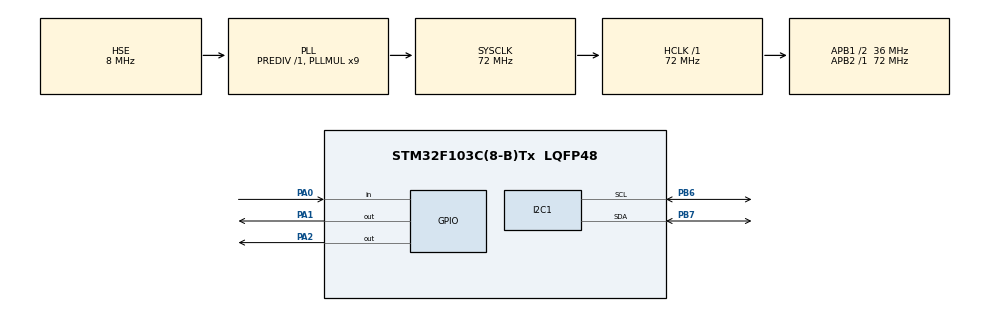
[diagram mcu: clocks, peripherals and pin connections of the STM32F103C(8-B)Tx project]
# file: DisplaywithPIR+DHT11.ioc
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I2C1.I2C_Mode=I2C_Fast
Mcu.Family=STM32F1
Mcu.Name=STM32F103C(8-B)Tx
Mcu.Package=LQFP48
NVIC.PriorityGroup=NVIC_PRIORITYGROUP_4
PA0-WKUP.Signal=GPIO_Input
PA1.Signal=GPIO_Output
PA13.Mode=Serial_Wire
PA13.Signal=SYS_JTMS-SWDIO
PA14.Mode=Serial_Wire
PA14.Signal=SYS_JTCK-SWCLK
PA2.Signal=GPIO_Output
PB6.Mode=I2C
PB6.Signal=I2C1_SCL
PB7.Mode=I2C
PB7.Signal=I2C1_SDA
PD0-OSC_IN.Mode=HSE-External-Oscillator
PD0-OSC_IN.Signal=RCC_OSC_IN
PD1-OSC_OUT.Mode=HSE-External-Oscillator
PD1-OSC_OUT.Signal=RCC_OSC_OUT
ProjectManager.HeapSize=0x200
ProjectManager.StackSize=0x400
ProjectManager.TargetToolchain=STM32CubeIDE
RCC.AHBFreq_Value=72000000
RCC.APB1CLKDivider=RCC_HCLK_DIV2
RCC.APB1Freq_Value=36000000
RCC.APB1TimFreq_Value=72000000
RCC.APB2Freq_Value=72000000
RCC.APB2TimFreq_Value=72000000
RCC.HCLKFreq_Value=72000000
RCC.PLLMUL=RCC_PLL_MUL9
RCC.PLLSourceVirtual=RCC_PLLSOURCE_HSE
RCC.SYSCLKFreq_VALUE=72000000
RCC.SYSCLKSource=RCC_SYSCLKSOURCE_PLLCLK
RCC.USBFreq_Value=72000000
board=custom

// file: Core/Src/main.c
/* USER CODE BEGIN Header */
/**
  ******************************************************************************
  * @file           : main.c
  * @brief          : Main program body
  ******************************************************************************
  * @attention
  *
  * Copyright (c) 2026 STMicroelectronics.
  * All rights reserved.
  *
  * This software is licensed under terms that can be found in the LICENSE file
  * in the root directory of this software component.
  * If no LICENSE file comes with this software, it is provided AS-IS.
  *
  ******************************************************************************
  */
/* USER CODE END Header */
#include "main.h"

/* USER CODE BEGIN Includes */

#include "fonts.h"
#include "ssd1306.h"
#include <stdio.h>
/* USER CODE END Includes */

I2C_HandleTypeDef hi2c1;

void SystemClock_Config(void);
static void MX_GPIO_Init(void);
static void MX_I2C1_Init(void);

/* USER CODE BEGIN 0 */
#define DHT11_PORT GPIOA
#define DHT11_PIN  GPIO_PIN_2

static void DHT11_Pin_Output(void)
{
    GPIO_InitTypeDef GPIO_InitStruct = {0};

    GPIO_InitStruct.Pin = DHT11_PIN;
    GPIO_InitStruct.Mode = GPIO_MODE_OUTPUT_PP;
    GPIO_InitStruct.Pull = GPIO_NOPULL;
    GPIO_InitStruct.Speed = GPIO_SPEED_FREQ_HIGH;

    HAL_GPIO_Init(DHT11_PORT, &GPIO_InitStruct);
}

static void DHT11_Pin_Input(void)
{
    GPIO_InitTypeDef GPIO_InitStruct = {0};

    GPIO_InitStruct.Pin = DHT11_PIN;
    GPIO_InitStruct.Mode = GPIO_MODE_INPUT;
    GPIO_InitStruct.Pull = GPIO_PULLUP;

    HAL_GPIO_Init(DHT11_PORT, &GPIO_InitStruct);
}

/* Microsecond delay using Cortex-M3 DWT */
static void DHT11_Delay_us(uint32_t us)
{
    uint32_t start = DWT->CYCCNT;
    uint32_t ticks = us * (HAL_RCC_GetHCLKFreq() / 1000000U);

    while ((DWT->CYCCNT - start) < ticks)
    {
    }
}

static void DHT11_DWT_Init(void)
{
    CoreDebug->DEMCR |= CoreDebug_DEMCR_TRCENA_Msk;
    DWT->CTRL |= DWT_CTRL_CYCCNTENA_Msk;
    DWT->CYCCNT = 0;
}

static uint8_t DHT11_WaitForState(GPIO_PinState state,
                                  uint32_t timeout_us)
{
    uint32_t start = DWT->CYCCNT;
    uint32_t ticks =
        timeout_us * (HAL_RCC_GetHCLKFreq() / 1000000U);

    while (HAL_GPIO_ReadPin(DHT11_PORT, DHT11_PIN) != state)
    {
        if ((DWT->CYCCNT - start) > ticks)
        {
            return 0;
        }
    }

    return 1;
}

static uint8_t DHT11_Read(uint8_t *temperature,
                          uint8_t *humidity)
{
    uint8_t data[5] = {0};

    /* Send start signal */
    DHT11_Pin_Output();

    HAL_GPIO_WritePin(DHT11_PORT,
                      DHT11_PIN,
                      GPIO_PIN_RESET);

    HAL_Delay(20);

    HAL_GPIO_WritePin(DHT11_PORT,
                      DHT11_PIN,
                      GPIO_PIN_SET);

    DHT11_Delay_us(30);

    /* Release data line */
    DHT11_Pin_Input();

    /* DHT11 response */
    if (!DHT11_WaitForState(GPIO_PIN_RESET, 100))
        return 0;

    if (!DHT11_WaitForState(GPIO_PIN_SET, 100))
        return 0;

    if (!DHT11_WaitForState(GPIO_PIN_RESET, 100))
        return 0;

    /* Read 40 bits */
    for (uint8_t i = 0; i < 40; i++)
    {
        /* Wait for HIGH pulse */
        if (!DHT11_WaitForState(GPIO_PIN_SET, 100))
            return 0;

        uint32_t start = DWT->CYCCNT;

        uint32_t timeout_ticks =
            120U * (HAL_RCC_GetHCLKFreq() / 1000000U);

        while (HAL_GPIO_ReadPin(DHT11_PORT,
                                DHT11_PIN) == GPIO_PIN_SET)
        {
            if ((DWT->CYCCNT - start) > timeout_ticks)
            {
                return 0;
            }
        }

        uint32_t high_ticks = DWT->CYCCNT - start;

        uint32_t high_us =
            high_ticks /
            (HAL_RCC_GetHCLKFreq() / 1000000U);

        data[i / 8] <<= 1;

        /*
         * DHT11:
         * ~26-28 us HIGH = 0
         * ~70 us HIGH    = 1
         */
        if (high_us > 40)
        {
            data[i / 8] |= 1;
        }
    }

    /* Verify checksum */
    if ((uint8_t)(data[0] +
                  data[1] +
                  data[2] +
                  data[3]) != data[4])
    {
        return 0;
    }

    *humidity = data[0];
    *temperature = data[2];

    return 1;
}
/* USER CODE END 0 */

int main(void)
{

  /* MCU Configuration--------------------------------------------------------*/

  /* Reset of all peripherals, Initializes the Flash interface and the Systick. */
  HAL_Init();

  /* Configure the system clock */
  SystemClock_Config();

  /* Initialize all configured peripherals */
  MX_GPIO_Init();
  MX_I2C1_Init();
  /* USER CODE BEGIN 2 */
  DHT11_DWT_Init();

  SSD1306_Init();

  SSD1306_Clear();

  SSD1306_GotoXY(0, 0);
  SSD1306_Puts("MOTION", &Font_11x18, 1);

  SSD1306_GotoXY(0, 30);
  SSD1306_Puts("DHT11", &Font_11x18, 1);

  SSD1306_UpdateScreen();

  HAL_Delay(1000);
  /* USER CODE END 2 */

  /* Infinite loop */
  while (1)
  {
	  static uint8_t temperature = 0;
	    static uint8_t humidity = 0;
	    static uint8_t dht11_ok = 0;
	    static uint32_t last_dht_read = 0;

	    /* Read DHT11 every 2 seconds */
	    if ((HAL_GetTick() - last_dht_read) >= 2000)
	    {
	        last_dht_read = HAL_GetTick();

	        dht11_ok = DHT11_Read(&temperature, &humidity);
	    }

	    /* Read PIR */
	    uint8_t motion =
	        (HAL_GPIO_ReadPin(GPIOA, GPIO_PIN_0) == GPIO_PIN_SET);

	    /* Control external LED */
	    if (motion)
	    {
	        HAL_GPIO_WritePin(GPIOA,
	                          GPIO_PIN_1,
	                          GPIO_PIN_SET);
	    }
	    else
	    {
	        HAL_GPIO_WritePin(GPIOA,
	                          GPIO_PIN_1,
	                          GPIO_PIN_RESET);
	    }

	    /* OLED */
	    char line[22];

	    SSD1306_Clear();

	    /* Temperature and humidity */
	    if (dht11_ok)
	    {
	        sprintf(line, "TEMP: %d C", temperature);

	        SSD1306_GotoXY(0, 0);
	        SSD1306_Puts(line, &Font_7x10, 1);

	        sprintf(line, "HUM : %d %%", humidity);

	        SSD1306_GotoXY(0, 14);
	        SSD1306_Puts(line, &Font_7x10, 1);
	    }
	    else
	    {
	        SSD1306_GotoXY(0, 0);
	        SSD1306_Puts("DHT11 ERROR", &Font_7x10, 1);
	    }

	    /* Motion status */
	    SSD1306_GotoXY(0, 30);

	    if (motion)
	    {
	        SSD1306_Puts("MOTION: YES", &Font_7x10, 1);
	    }
	    else
	    {
	        SSD1306_Puts("MOTION: NO", &Font_7x10, 1);
	    }

	    /* LED status */
	    SSD1306_GotoXY(0, 45);

	    if (motion)
	    {
	        SSD1306_Puts("LED: ON", &Font_7x10, 1);
	    }
	    else
	    {
	        SSD1306_Puts("LED: OFF", &Font_7x10, 1);
	    }

	    SSD1306_UpdateScreen();

	    HAL_Delay(200);
  }
}

void SystemClock_Config(void)
{
  RCC_OscInitTypeDef RCC_OscInitStruct = {0};
  RCC_ClkInitTypeDef RCC_ClkInitStruct = {0};

  /** Initializes the RCC Oscillators according to the specified parameters
  * in the RCC_OscInitTypeDef structure.
  */
  RCC_OscInitStruct.OscillatorType = RCC_OSCILLATORTYPE_HSE;
  RCC_OscInitStruct.HSEState = RCC_HSE_ON;
  RCC_OscInitStruct.HSEPredivValue = RCC_HSE_PREDIV_DIV1;
  RCC_OscInitStruct.HSIState = RCC_HSI_ON;
  RCC_OscInitStruct.PLL.PLLState = RCC_PLL_ON;
  RCC_OscInitStruct.PLL.PLLSource = RCC_PLLSOURCE_HSE;
  RCC_OscInitStruct.PLL.PLLMUL = RCC_PLL_MUL9;
  if (HAL_RCC_OscConfig(&RCC_OscInitStruct) != HAL_OK)
  {
    Error_Handler();
  }

  /** Initializes the CPU, AHB and APB buses clocks
  */
  RCC_ClkInitStruct.ClockType = RCC_CLOCKTYPE_HCLK|RCC_CLOCKTYPE_SYSCLK
                              |RCC_CLOCKTYPE_PCLK1|RCC_CLOCKTYPE_PCLK2;
  RCC_ClkInitStruct.SYSCLKSource = RCC_SYSCLKSOURCE_PLLCLK;
  RCC_ClkInitStruct.AHBCLKDivider = RCC_SYSCLK_DIV1;
  RCC_ClkInitStruct.APB1CLKDivider = RCC_HCLK_DIV2;
  RCC_ClkInitStruct.APB2CLKDivider = RCC_HCLK_DIV1;

  if (HAL_RCC_ClockConfig(&RCC_ClkInitStruct, FLASH_LATENCY_2) != HAL_OK)
  {
    Error_Handler();
  }
}

static void MX_I2C1_Init(void)
{

  hi2c1.Instance = I2C1;
  hi2c1.Init.ClockSpeed = 400000;
  hi2c1.Init.DutyCycle = I2C_DUTYCYCLE_2;
  hi2c1.Init.OwnAddress1 = 0;
  hi2c1.Init.AddressingMode = I2C_ADDRESSINGMODE_7BIT;
  hi2c1.Init.DualAddressMode = I2C_DUALADDRESS_DISABLE;
  hi2c1.Init.OwnAddress2 = 0;
  hi2c1.Init.GeneralCallMode = I2C_GENERALCALL_DISABLE;
  hi2c1.Init.NoStretchMode = I2C_NOSTRETCH_DISABLE;
  if (HAL_I2C_Init(&hi2c1) != HAL_OK)
  {
    Error_Handler();
  }

}

static void MX_GPIO_Init(void)
{
  GPIO_InitTypeDef GPIO_InitStruct = {0};

  /* GPIO Ports Clock Enable */
  __HAL_RCC_GPIOD_CLK_ENABLE();
  __HAL_RCC_GPIOA_CLK_ENABLE();
  __HAL_RCC_GPIOB_CLK_ENABLE();

  /*Configure GPIO pin Output Level */
  HAL_GPIO_WritePin(GPIOA, GPIO_PIN_1|GPIO_PIN_2, GPIO_PIN_RESET);

  /*Configure GPIO pin : PA0 */
  GPIO_InitStruct.Pin = GPIO_PIN_0;
  GPIO_InitStruct.Mode = GPIO_MODE_INPUT;
  GPIO_InitStruct.Pull = GPIO_NOPULL;
  HAL_GPIO_Init(GPIOA, &GPIO_InitStruct);

  /*Configure GPIO pins : PA1 PA2 */
  GPIO_InitStruct.Pin = GPIO_PIN_1|GPIO_PIN_2;
  GPIO_InitStruct.Mode = GPIO_MODE_OUTPUT_PP;
  GPIO_InitStruct.Pull = GPIO_NOPULL;
  GPIO_InitStruct.Speed = GPIO_SPEED_FREQ_LOW;
  HAL_GPIO_Init(GPIOA, &GPIO_InitStruct);

}

void Error_Handler(void)
{
  __disable_irq();
  while (1)
  {
  }
}
